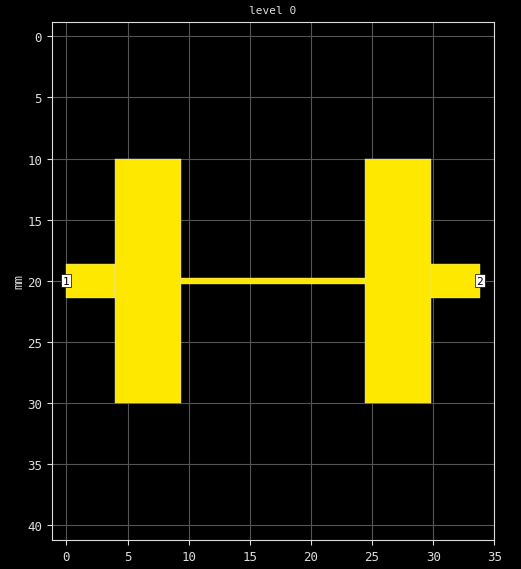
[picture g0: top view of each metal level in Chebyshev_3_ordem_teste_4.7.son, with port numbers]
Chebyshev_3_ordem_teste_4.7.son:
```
FTYP SONPROJ 13 ! Sonnet Project File
VER 15.53.lite
HEADER
LIC SL290709.106431 847bebfebdba DESKTOP-1CMJ3DP Arihe
DAT 06/20/2019 17:52:31
BUILT_BY_CREATED xgeom 15.53-Lite 04/13/2019 20:59:13
BUILT_BY_SAVED xgeom 15.53-Lite
MDATE 06/20/2019 17:48:46
HDATE 06/20/2019 17:48:46
END HEADER
DIM
FREQ GHZ
RSVY OHMM
IND NH
LNG MM
ANG DEG
CON /OH
CAP PF
RES OH
END DIM
FREQ
ABS 1.0e-9 3.0 
END FREQ
CONTROL
ABS
OPTIONS  -dj 
SPEED 0
CACHE_ABS 1
TARG_ABS 300
Q_ACC N
END CONTROL
GEO
DRP1 LEFT LINK
POLY 12 1
1
DRP1 RIGHT LINK
POLY 14 1
0
TMET "Lossless" 0 SUP 0 0 0 0
BMET "Lossless" 0 SUP 0 0 0 0
MET "Copper" 1 NOR 58000000 0 0.0347 
BOX 1 33.8 40 676 800 20 0
      20 1 1 0 0 0 0 "Air"
      1.5306 4.7 1 0.02 0 0 0 "FR-4"
LORGN 0 40 U 
POR1 STD
POLY 12 1
3
1 50 0 0 0 3.166936935e-007 20 
POR1 STD
POLY 14 1
1
2 50 0 0 0 33.80000032 20 
NUM 5
0 5 0 N 12 1 1 100 100 0 0 0 Y
3.166936935e-007 18.6
4.000000317 18.6
4.000000317 21.4
3.166936935e-007 21.4
3.166936935e-007 18.6
END
0 5 0 N 14 1 1 100 100 0 0 0 Y
29.80000032 18.6
33.80000032 18.6
33.80000032 21.4
29.80000032 21.4
29.80000032 18.6
END
0 5 0 N 16 1 1 100 100 0 0 0 Y
4.000000317 10
9.400000317 10
9.400000317 30
4.000000317 30
4.000000317 10
END
0 5 0 N 17 1 1 100 100 0 0 0 Y
24.40000032 10
29.80000032 10
29.80000032 30
24.40000032 30
24.40000032 10
END
0 5 0 N 18 1 1 100 100 0 0 0 Y
9.400000317 19.75
24.40000032 19.75
24.40000032 20.25
9.400000317 20.25
9.400000317 19.75
END
END GEO
OPT
MAX 100
VARS
END
END OPT
VARSWP
END VARSWP
QSG
IMPORT NO
EXTRA_METAL NO
UNITS YES
ALIGN NO
REF NO
VIEW_RES NO
METALS YES
USED YES
END QSG
```
